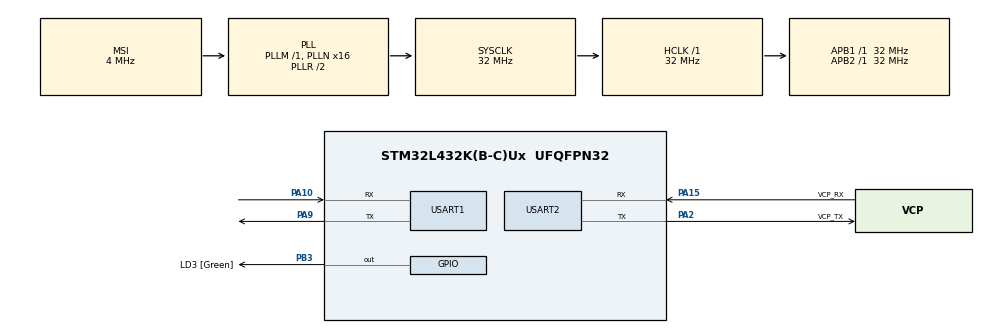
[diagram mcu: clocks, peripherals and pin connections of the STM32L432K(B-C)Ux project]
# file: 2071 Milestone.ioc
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Mcu.Family=STM32L4
Mcu.Name=STM32L432K(B-C)Ux
Mcu.Package=UFQFPN32
NVIC.PriorityGroup=NVIC_PRIORITYGROUP_4
NVIC.USART1_IRQn=true\:0\:0\:false\:false\:true\:true\:true\:true
NVIC.USART2_IRQn=true\:0\:0\:false\:false\:true\:true\:true\:true
PA0.GPIO_Label=MCO [High speed clock in]
PA0.Mode=HSE-External-Clock-Source-for-LittleOrca
PA0.Signal=RCC_CK_IN
PA10.Mode=Asynchronous
PA10.Signal=USART1_RX
PA13\ (JTMS-SWDIO).GPIO_Label=SWDIO
PA13\ (JTMS-SWDIO).Mode=Serial_Wire
PA13\ (JTMS-SWDIO).Signal=SYS_JTMS-SWDIO
PA14\ (JTCK-SWCLK).GPIO_Label=SWCLK
PA14\ (JTCK-SWCLK).Mode=Serial_Wire
PA14\ (JTCK-SWCLK).Signal=SYS_JTCK-SWCLK
PA15\ (JTDI).GPIO_Label=VCP_RX
PA15\ (JTDI).Mode=Asynchronous
PA15\ (JTDI).Signal=USART2_RX
PA2.GPIO_Label=VCP_TX
PA2.Mode=Asynchronous
PA2.Signal=USART2_TX
PA9.Mode=Asynchronous
PA9.Signal=USART1_TX
PB3\ (JTDO-TRACESWO).GPIO_Label=LD3 [Green]
PB3\ (JTDO-TRACESWO).Signal=GPIO_Output
PC14-OSC32_IN\ (PC14).Mode=LSE-External-Oscillator
PC14-OSC32_IN\ (PC14).Signal=RCC_OSC32_IN
PC15-OSC32_OUT\ (PC15).Mode=LSE-External-Oscillator
PC15-OSC32_OUT\ (PC15).Signal=RCC_OSC32_OUT
ProjectManager.HeapSize=0x200
ProjectManager.StackSize=0x400
ProjectManager.TargetToolchain=STM32CubeIDE
RCC.AHBFreq_Value=32000000
RCC.APB1Freq_Value=32000000
RCC.APB1TimFreq_Value=32000000
RCC.APB2Freq_Value=32000000
RCC.APB2TimFreq_Value=32000000
RCC.CortexFreq_Value=32000000
RCC.HCLKFreq_Value=32000000
RCC.HSE_VALUE=8000000
RCC.HSI16_VALUE=16000000
RCC.HSI48_VALUE=48000000
RCC.HSI_VALUE=16000000
RCC.MSI_VALUE=4000000
RCC.PLLMUL=RCC_PLLMUL_4
RCC.PLLN=16
RCC.SYSCLKFreq_VALUE=32000000
RCC.SYSCLKSource=RCC_SYSCLKSOURCE_PLLCLK
RCC.VCOOutputFreq_Value=64000000
USART1.VirtualMode-Asynchronous=VM_ASYNC
USART2.VirtualMode-Asynchronous=VM_ASYNC
board=NUCLEO-L432KC

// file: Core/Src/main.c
/* USER CODE BEGIN Header */
/**
  ******************************************************************************
  * @file           : main.c
  * @brief          : Main program body
  ******************************************************************************
  * @attention
  *
  * Copyright (c) 2026 STMicroelectronics.
  * All rights reserved.
  *
  * This software is licensed under terms that can be found in the LICENSE file
  * in the root directory of this software component.
  * If no LICENSE file comes with this software, it is provided AS-IS.
  *
  ******************************************************************************
  */
/* USER CODE END Header */
#include "main.h"

/* USER CODE BEGIN Includes */
#include "stdbool.h"
#include "stdio.h"
/* USER CODE END Includes */

UART_HandleTypeDef huart1;
UART_HandleTypeDef huart2;

void SystemClock_Config(void);
static void MX_GPIO_Init(void);
static void MX_USART2_UART_Init(void);
static void MX_USART1_UART_Init(void);

/* USER CODE BEGIN 0 */
volatile bool head = false;
volatile bool assigned = false;
volatile uint8_t msg_size;
uint8_t msg[255];

void add_checksum(uint8_t *msg, volatile uint8_t *msg_size){
	if (*msg_size < 2) return; //needs at least 1 header and 1 data.

	uint8_t checksum = msg[1];
	for (int i=2; i<*msg_size; i++){
		checksum ^= msg[i];
	}
	msg[*msg_size] = checksum;
	(*msg_size)++;
}

bool check_checksum(uint8_t *msg, volatile uint8_t *msg_size){
	if (*msg_size < 2) return true; //needs at least 1 header and 1 data.

	uint8_t checksum = msg[1];
	for (int i=2; i<*msg_size-1; i++){
		checksum ^= msg[i];
	}
	return(checksum == msg[(*msg_size)-1]);
}
/* USER CODE END 0 */

int main(void)
{

  /* MCU Configuration--------------------------------------------------------*/

  /* Reset of all peripherals, Initializes the Flash interface and the Systick. */
  HAL_Init();

  /* Configure the system clock */
  SystemClock_Config();

  /* Initialize all configured peripherals */
  MX_GPIO_Init();
  MX_USART2_UART_Init();
  MX_USART1_UART_Init();
  /* USER CODE BEGIN 2 */
//  const uint32_t n = 2;
  const uint32_t HOLD_TIME = 250; //default 250 but we can increase for debugging.

  uint8_t *ID = msg;

  HAL_GPIO_WritePin(LD3_GPIO_Port, LD3_Pin,0); //Setup

  /* USER CODE END 2 */

  /* Infinite loop */
  /* USER CODE BEGIN WHILE */
  while (1)
  {
	  HAL_UARTEx_ReceiveToIdle_IT(&huart2, msg, 255);
	  HAL_UARTEx_ReceiveToIdle_IT(&huart1, msg, 255);
	  while (!assigned);

	  if (head){

		  HAL_GPIO_WritePin(LD3_GPIO_Port, LD3_Pin,1);
		  HAL_Delay(HOLD_TIME);

		  msg[msg_size] = (uint8_t)'I';
		  msg[msg_size+1] = (uint8_t)'1';
		  msg[msg_size+2] = (uint8_t)'4';
		  msg[msg_size+3] = (uint8_t)'_';
		  msg[msg_size+4] = (*ID)++;
		  msg_size += 5;

		  add_checksum(msg,&msg_size);
		  HAL_UART_Transmit(&huart1, msg, msg_size, HAL_MAX_DELAY);
		  HAL_GPIO_WritePin(LD3_GPIO_Port, LD3_Pin,0);

		  while (HAL_UARTEx_ReceiveToIdle_IT(&huart1, msg, 255)!= HAL_OK); //receiving from stm

		  if (!check_checksum(msg,&msg_size)){
			  HAL_GPIO_WritePin(LD3_GPIO_Port, LD3_Pin,1);
			  while(1);
		  }

		  msg[msg_size] = (uint8_t)'\r';
		  msg[msg_size+1] = (uint8_t)'\n';
		  msg_size += 2;

		  HAL_UART_Transmit(&huart2, msg, msg_size, HAL_MAX_DELAY);//sending to pc
		  assigned = false;
		  continue;
	  }

	  if (!check_checksum(msg,&msg_size)){
		  HAL_GPIO_WritePin(LD3_GPIO_Port, LD3_Pin,1);
		  while(1);
	  }

	  HAL_GPIO_WritePin(LD3_GPIO_Port, LD3_Pin,1);
	  HAL_Delay(HOLD_TIME);

	  msg[msg_size] = (uint8_t)'I';
	  msg[msg_size+1] = (uint8_t)'1';
	  msg[msg_size+2] = (uint8_t)'4';
	  msg[msg_size+3] = (uint8_t)'_';
	  msg[msg_size+4] = (*ID)++;
	  msg_size += 5;

	  add_checksum(msg,&msg_size);
	  HAL_UART_Transmit(&huart1, msg, msg_size, HAL_MAX_DELAY);
	  HAL_GPIO_WritePin(LD3_GPIO_Port, LD3_Pin,0);

	  assigned = false;
    /* USER CODE END WHILE */

  }
}

void SystemClock_Config(void)
{
  RCC_OscInitTypeDef RCC_OscInitStruct = {0};
  RCC_ClkInitTypeDef RCC_ClkInitStruct = {0};

  /** Configure the main internal regulator output voltage
  */
  if (HAL_PWREx_ControlVoltageScaling(PWR_REGULATOR_VOLTAGE_SCALE1) != HAL_OK)
  {
    Error_Handler();
  }

  /** Configure LSE Drive Capability
  */
  HAL_PWR_EnableBkUpAccess();
  __HAL_RCC_LSEDRIVE_CONFIG(RCC_LSEDRIVE_LOW);

  /** Initializes the RCC Oscillators according to the specified parameters
  * in the RCC_OscInitTypeDef structure.
  */
  RCC_OscInitStruct.OscillatorType = RCC_OSCILLATORTYPE_LSE|RCC_OSCILLATORTYPE_MSI;
  RCC_OscInitStruct.LSEState = RCC_LSE_ON;
  RCC_OscInitStruct.MSIState = RCC_MSI_ON;
  RCC_OscInitStruct.MSICalibrationValue = 0;
  RCC_OscInitStruct.MSIClockRange = RCC_MSIRANGE_6;
  RCC_OscInitStruct.PLL.PLLState = RCC_PLL_ON;
  RCC_OscInitStruct.PLL.PLLSource = RCC_PLLSOURCE_MSI;
  RCC_OscInitStruct.PLL.PLLM = 1;
  RCC_OscInitStruct.PLL.PLLN = 16;
  RCC_OscInitStruct.PLL.PLLP = RCC_PLLP_DIV7;
  RCC_OscInitStruct.PLL.PLLQ = RCC_PLLQ_DIV2;
  RCC_OscInitStruct.PLL.PLLR = RCC_PLLR_DIV2;
  if (HAL_RCC_OscConfig(&RCC_OscInitStruct) != HAL_OK)
  {
    Error_Handler();
  }

  /** Initializes the CPU, AHB and APB buses clocks
  */
  RCC_ClkInitStruct.ClockType = RCC_CLOCKTYPE_HCLK|RCC_CLOCKTYPE_SYSCLK
                              |RCC_CLOCKTYPE_PCLK1|RCC_CLOCKTYPE_PCLK2;
  RCC_ClkInitStruct.SYSCLKSource = RCC_SYSCLKSOURCE_PLLCLK;
  RCC_ClkInitStruct.AHBCLKDivider = RCC_SYSCLK_DIV1;
  RCC_ClkInitStruct.APB1CLKDivider = RCC_HCLK_DIV1;
  RCC_ClkInitStruct.APB2CLKDivider = RCC_HCLK_DIV1;

  if (HAL_RCC_ClockConfig(&RCC_ClkInitStruct, FLASH_LATENCY_1) != HAL_OK)
  {
    Error_Handler();
  }

  /** Enable MSI Auto calibration
  */
  HAL_RCCEx_EnableMSIPLLMode();
}

static void MX_USART1_UART_Init(void)
{

  huart1.Instance = USART1;
  huart1.Init.BaudRate = 115200;
  huart1.Init.WordLength = UART_WORDLENGTH_8B;
  huart1.Init.StopBits = UART_STOPBITS_1;
  huart1.Init.Parity = UART_PARITY_NONE;
  huart1.Init.Mode = UART_MODE_TX_RX;
  huart1.Init.HwFlowCtl = UART_HWCONTROL_NONE;
  huart1.Init.OverSampling = UART_OVERSAMPLING_16;
  huart1.Init.OneBitSampling = UART_ONE_BIT_SAMPLE_DISABLE;
  huart1.AdvancedInit.AdvFeatureInit = UART_ADVFEATURE_NO_INIT;
  if (HAL_UART_Init(&huart1) != HAL_OK)
  {
    Error_Handler();
  }

}

static void MX_USART2_UART_Init(void)
{

  huart2.Instance = USART2;
  huart2.Init.BaudRate = 115200;
  huart2.Init.WordLength = UART_WORDLENGTH_8B;
  huart2.Init.StopBits = UART_STOPBITS_1;
  huart2.Init.Parity = UART_PARITY_NONE;
  huart2.Init.Mode = UART_MODE_TX_RX;
  huart2.Init.HwFlowCtl = UART_HWCONTROL_NONE;
  huart2.Init.OverSampling = UART_OVERSAMPLING_16;
  huart2.Init.OneBitSampling = UART_ONE_BIT_SAMPLE_DISABLE;
  huart2.AdvancedInit.AdvFeatureInit = UART_ADVFEATURE_NO_INIT;
  if (HAL_UART_Init(&huart2) != HAL_OK)
  {
    Error_Handler();
  }

}

static void MX_GPIO_Init(void)
{
  GPIO_InitTypeDef GPIO_InitStruct = {0};

  /* GPIO Ports Clock Enable */
  __HAL_RCC_GPIOC_CLK_ENABLE();
  __HAL_RCC_GPIOA_CLK_ENABLE();
  __HAL_RCC_GPIOB_CLK_ENABLE();

  /*Configure GPIO pin Output Level */
  HAL_GPIO_WritePin(LD3_GPIO_Port, LD3_Pin, GPIO_PIN_RESET);

  /*Configure GPIO pin : LD3_Pin */
  GPIO_InitStruct.Pin = LD3_Pin;
  GPIO_InitStruct.Mode = GPIO_MODE_OUTPUT_PP;
  GPIO_InitStruct.Pull = GPIO_NOPULL;
  GPIO_InitStruct.Speed = GPIO_SPEED_FREQ_LOW;
  HAL_GPIO_Init(LD3_GPIO_Port, &GPIO_InitStruct);

}

/* USER CODE BEGIN 4 */
void HAL_UARTEx_RxEventCallback(UART_HandleTypeDef *huart, uint16_t size) {
//    HAL_GPIO_WritePin(LD3_GPIO_Port,LD3_Pin,1);
	if (!assigned){
		if (huart->Instance == USART2) {
			head = true;
		} else if (huart->Instance == USART1){
			head = false;
		}
		assigned = true;
	}

    msg_size = size;
//    HAL_Delay(HAL_MAX_DELAY);
}
/* USER CODE END 4 */

void Error_Handler(void)
{
  __disable_irq();
  while (1)
  {
  }
}
